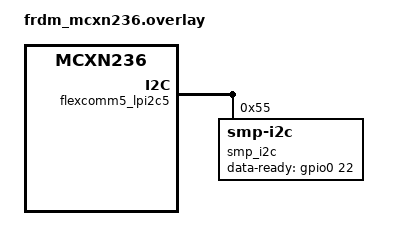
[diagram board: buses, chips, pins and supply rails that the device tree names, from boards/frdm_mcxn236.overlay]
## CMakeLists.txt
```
#
# Copyright (c) 2026 Aerlync Labs Inc.
#
# SPDX-License-Identifier: Apache-2.0
#

cmake_minimum_required(VERSION 3.20.0)
find_package(Zephyr REQUIRED HINTS $ENV{ZEPHYR_BASE})
project(transport_i2c)

target_sources(app PRIVATE src/main.c)
```

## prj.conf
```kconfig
#
# Copyright (c) 2026 Aerlync Labs Inc.
#
# SPDX-License-Identifier: Apache-2.0
#

CONFIG_NET_BUF=y
CONFIG_ZCBOR=y
CONFIG_MCUMGR=y
CONFIG_GPIO=y
CONFIG_I2C=y
CONFIG_I2C_TARGET=y
CONFIG_I2C_TARGET_BUFFER_MODE=y
CONFIG_MCUMGR_TRANSPORT_I2C=y
CONFIG_MCUMGR_MGMT_NOTIFICATION_HOOKS=y
CONFIG_ZTEST=y
CONFIG_SMP_CLIENT=y
CONFIG_NET_BUF_POOL_USAGE=y
CONFIG_MCUMGR_TRANSPORT_NETBUF_AVAILABLE=y
```

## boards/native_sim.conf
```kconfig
CONFIG_I2C_EMUL=y
CONFIG_I2C_TARGET=y
CONFIG_I2C_TARGET_BUFFER_MODE=y
CONFIG_EMUL=y
```

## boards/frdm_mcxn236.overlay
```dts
/*
 * Copyright (c) 2026 Aerlync Labs Inc.
 *
 * SPDX-License-Identifier: Apache-2.0
 */

#include <zephyr/dt-bindings/gpio/gpio.h>

/* FlexComm5 LPI2C5 used as the SMP I2C target. */
&flexcomm5_lpi2c5 {
	status = "okay";

	smp_i2c: smp-i2c@55 {
		compatible = "zephyr,smp-i2c";
		reg = <0x55>;
		data-ready-gpios = <&gpio0 22 GPIO_ACTIVE_HIGH>;
	};
};
```

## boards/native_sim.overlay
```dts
/*
 * Copyright (c) 2026 Aerlync Labs Inc.
 * SPDX-License-Identifier: Apache-2.0
 */

&i2c0 {
	smp_i2c: smp-i2c@55 {
		compatible = "zephyr,smp-i2c";
		reg = <0x55>;
		/* No DRDY GPIO, so the controller polls with 2-byte reads. */
	};
};

/* Enable buffered-mode in the emulator for buffer-mode path coverage */
&i2c0 {
	target-buffered-mode;
};
```

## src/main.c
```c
/*
 * Copyright (c) 2026 Aerlync Labs Inc.
 *
 * SPDX-License-Identifier: Apache-2.0
 */

#include <zephyr/ztest.h>
#include <zephyr/kernel.h>
#include <zephyr/device.h>
#include <zephyr/drivers/i2c.h>
#include <zephyr/net_buf.h>
#include <zephyr/mgmt/mcumgr/smp/smp.h>
#include <zephyr/drivers/gpio.h>
#include <zephyr/mgmt/mcumgr/transport/smp.h>

#define I2C_ADDR 0x55

#if DT_NODE_HAS_PROP(DT_NODELABEL(smp_i2c), data_ready_gpios)
static const struct gpio_dt_spec drdy_gpio =
	GPIO_DT_SPEC_GET(DT_NODELABEL(smp_i2c), data_ready_gpios);
#endif

/*
 * The transport exposes its ISR callbacks and tx path to the tests under
 * CONFIG_ZTEST (see SMP_I2C_STATIC in smp_i2c.c). The tests drive the state
 * machine directly rather than through a live I2C controller or the SMP
 * client registry, which the target does not populate.
 */
extern int smp_i2c_write_requested(struct i2c_target_config *cfg);
extern int smp_i2c_write_received(struct i2c_target_config *cfg, uint8_t val);
extern int smp_i2c_read_requested(struct i2c_target_config *cfg, uint8_t *val);
extern int smp_i2c_read_processed(struct i2c_target_config *cfg, uint8_t *val);
extern int smp_i2c_stop(struct i2c_target_config *cfg);
extern int smp_i2c_tx_pkt(struct net_buf *nb);
extern void smp_i2c_test_reset(void);
#if defined(CONFIG_I2C_TARGET_BUFFER_MODE)
extern void smp_i2c_buf_write_received(struct i2c_target_config *cfg, uint8_t *ptr, uint32_t len);
extern int smp_i2c_buf_read_requested(struct i2c_target_config *cfg, uint8_t **ptr, uint32_t *len);
#endif

static void before_each(void *fixture)
{
	ARG_UNUSED(fixture);
	smp_i2c_test_reset();
}

ZTEST_SUITE(smp_i2c, NULL, NULL, before_each, NULL, NULL);

ZTEST(smp_i2c, test_transport_registers)
{
	const struct device *i2c_dev = DEVICE_DT_GET(DT_BUS(DT_NODELABEL(smp_i2c)));

	zassert_true(device_is_ready(i2c_dev), "I2C device not ready");
}

ZTEST(smp_i2c, test_drdy_starts_deasserted)
{
#if DT_NODE_HAS_PROP(DT_NODELABEL(smp_i2c), data_ready_gpios)
	zassert_true(device_is_ready(drdy_gpio.port), "DRDY GPIO device not ready");
	int val = gpio_pin_get_dt(&drdy_gpio);

	zassert_equal(val, 0, "DRDY should be deasserted initially");
#else
	ztest_test_skip();
#endif
}

ZTEST(smp_i2c, test_zero_length_poll)
{
	uint8_t val = 0xFF;

	smp_i2c_read_requested(NULL, &val);
	zassert_equal(val, 0x00, "Expected 0x00 for zero-length poll");
	smp_i2c_read_processed(NULL, &val);
	zassert_equal(val, 0x00, "Expected 0x00 for next byte");
	smp_i2c_stop(NULL);
}

ZTEST(smp_i2c, test_rx_state_machine_valid_frame)
{
#ifdef CONFIG_MCUMGR_TRANSPORT_NETBUF_AVAILABLE
	size_t before = smp_packet_buffers_available();
#endif
	smp_i2c_write_requested(NULL);
	smp_i2c_write_received(NULL, 0x00);
	smp_i2c_write_received(NULL, 0x05);
	for (int i = 0; i < 5; i++) {
		smp_i2c_write_received(NULL, i);
	}
	smp_i2c_stop(NULL); /* hands a complete frame to the SMP workqueue */

	/*
	 * Let the cooperative workqueue thread process (and free) the
	 * dispatched request, then confirm every net_buf returned to the pool.
	 */
#ifdef CONFIG_MCUMGR_TRANSPORT_NETBUF_AVAILABLE
	k_msleep(100);
	zassert_equal(smp_packet_buffers_available(), before,
		      "valid frame processing leaked a net_buf");
#endif
}

ZTEST(smp_i2c, test_rx_state_machine_truncated_frame)
{
#ifdef CONFIG_MCUMGR_TRANSPORT_NETBUF_AVAILABLE
	size_t before = smp_packet_buffers_available();
#endif
	smp_i2c_write_requested(NULL);
	smp_i2c_write_received(NULL, 0x00);
	smp_i2c_write_received(NULL, 0x0A); /* declares 10 bytes */
	for (int i = 0; i < 5; i++) {
		smp_i2c_write_received(NULL, i); /* only 5 arrive */
	}
	smp_i2c_stop(NULL); /* truncated: must be dropped */
#ifdef CONFIG_MCUMGR_TRANSPORT_NETBUF_AVAILABLE
	zassert_equal(smp_packet_buffers_available(), before,
		      "truncated frame must not leak a net_buf");
#endif
}

ZTEST(smp_i2c, test_rx_state_machine_zero_length_rejected)
{
#ifdef CONFIG_MCUMGR_TRANSPORT_NETBUF_AVAILABLE
	size_t before = smp_packet_buffers_available();
#endif
	smp_i2c_write_requested(NULL);
	smp_i2c_write_received(NULL, 0x00);
	smp_i2c_write_received(NULL, 0x00); /* length 0: rejected before alloc */
	smp_i2c_stop(NULL);
#ifdef CONFIG_MCUMGR_TRANSPORT_NETBUF_AVAILABLE
	zassert_equal(smp_packet_buffers_available(), before,
		      "zero-length frame must not allocate a net_buf");
#endif
}

ZTEST(smp_i2c, test_rx_state_machine_oversize_rejected)
{
#ifdef CONFIG_MCUMGR_TRANSPORT_NETBUF_AVAILABLE
	size_t before = smp_packet_buffers_available();
#endif
	smp_i2c_write_requested(NULL);
	smp_i2c_write_received(NULL, 0xFF); /* length 0xFFFF > MTU */
	smp_i2c_write_received(NULL, 0xFF);
	smp_i2c_stop(NULL);
#ifdef CONFIG_MCUMGR_TRANSPORT_NETBUF_AVAILABLE
	zassert_equal(smp_packet_buffers_available(), before,
		      "oversize frame must not leak a net_buf");
#endif
}

ZTEST(smp_i2c, test_tx_path_stages_response)
{
	struct net_buf *nb = smp_packet_alloc();

	zassert_not_null(nb, "net_buf alloc failed");

	uint8_t payload[] = {0xAA, 0xBB, 0xCC};

	net_buf_add_mem(nb, payload, sizeof(payload));

	int rc = smp_i2c_tx_pkt(nb);

	zassert_equal(rc, 0, "tx_pkt failed");

#if DT_NODE_HAS_PROP(DT_NODELABEL(smp_i2c), data_ready_gpios)
	int val = gpio_pin_get_dt(&drdy_gpio);

	zassert_equal(val, 1, "DRDY should be asserted after tx_pkt");
#endif

	uint8_t val0 = 0, val1 = 0;

	smp_i2c_read_requested(NULL, &val0);
	smp_i2c_read_processed(NULL, &val1);
	zassert_equal(val0, 0x00, "Length high should be 0");
	zassert_equal(val1, 0x03, "Length low should be 3");

	uint8_t data[3] = {0};

	smp_i2c_read_processed(NULL, &data[0]);
	smp_i2c_read_processed(NULL, &data[1]);
	smp_i2c_read_processed(NULL, &data[2]);

	zassert_mem_equal(data, payload, 3, "Payload mismatch");

	smp_i2c_stop(NULL);
}

/*
 * A READ that begins while no response is staged must serve 0x00 for its
 * entire life, even if the workqueue stages a response (here a 256-byte one,
 * so a torn length high byte would surface as non-zero) before the next ISR
 * byte is served.
 */
ZTEST(smp_i2c, test_tx_not_ready_read_stays_zero)
{
	uint8_t v = 0xFF;

	smp_i2c_read_requested(NULL, &v);
	zassert_equal(v, 0x00, "byte0 must be 0x00 when no response is staged");

	struct net_buf *nb = smp_packet_alloc();

	zassert_not_null(nb, "alloc failed");
	for (int i = 0; i < 256; i++) {
		net_buf_add_u8(nb, (uint8_t)i); /* len 256 -> len_hi = 0x01 */
	}
	zassert_equal(smp_i2c_tx_pkt(nb), 0, "staging 256-byte response failed");

	v = 0xFF;
	smp_i2c_read_processed(NULL, &v);
	zassert_equal(v, 0x00, "byte1 must stay 0x00 (no torn length header)");
	v = 0xFF;
	smp_i2c_read_processed(NULL, &v);
	zassert_equal(v, 0x00, "later bytes of a not-ready read stay 0x00");

	smp_i2c_stop(NULL);
}

/*
 * A response staged while a different READ is in flight (tx_reading set, no
 * stop() yet) must be rejected with -EBUSY rather than corrupting the buffer
 * that read is draining.
 */
ZTEST(smp_i2c, test_tx_pkt_rejected_while_read_in_flight)
{
	struct net_buf *nb1 = smp_packet_alloc();
	uint8_t payload1[] = {0x11, 0x22, 0x33};

	net_buf_add_mem(nb1, payload1, sizeof(payload1));
	zassert_equal(smp_i2c_tx_pkt(nb1), 0, "first tx_pkt failed");

	uint8_t val = 0;

	smp_i2c_read_requested(NULL, &val); /* READ now in flight (tx_reading) */
	zassert_equal(val, 0x00, "length high mismatch");

	struct net_buf *nb2 = smp_packet_alloc();
	uint8_t payload2[] = {0x44, 0x55};

	net_buf_add_mem(nb2, payload2, sizeof(payload2));
	zassert_equal(smp_i2c_tx_pkt(nb2), -EBUSY, "expected -EBUSY while a read is in flight");

	smp_i2c_read_processed(NULL, &val);
	zassert_equal(val, 0x03, "length low mismatch after rejected overwrite");

	uint8_t data[3] = {0};

	smp_i2c_read_processed(NULL, &data[0]);
	smp_i2c_read_processed(NULL, &data[1]);
	smp_i2c_read_processed(NULL, &data[2]);
	zassert_mem_equal(data, payload1, 3, "in-flight payload was corrupted");

	smp_i2c_stop(NULL);
}

ZTEST(smp_i2c, test_echo_round_trip)
{
#ifdef CONFIG_I2C_EMUL
	const struct device *i2c_dev = DEVICE_DT_GET(DT_BUS(DT_NODELABEL(smp_i2c)));

	uint8_t write_buf[] = {0x00, 0x02, 0x11, 0x22};
	int rc = i2c_write(i2c_dev, write_buf, sizeof(write_buf), I2C_ADDR);

	zassert_equal(rc, 0, "i2c_write failed");
#else
	ztest_test_skip();
#endif
}

ZTEST(smp_i2c, test_mtu_boundary_exact_mtu)
{
	struct net_buf *nb = smp_packet_alloc();
	uint16_t mtu = CONFIG_MCUMGR_TRANSPORT_I2C_MTU;

	for (int i = 0; i < mtu; i++) {
		net_buf_add_u8(nb, i & 0xFF);
	}
	int rc = smp_i2c_tx_pkt(nb);

	zassert_equal(rc, 0, "MTU exact size should be accepted");
	smp_i2c_stop(NULL);
}

ZTEST(smp_i2c, test_mtu_boundary_oversize)
{
	struct net_buf *nb = smp_packet_alloc();
	uint16_t mtu = CONFIG_MCUMGR_TRANSPORT_I2C_MTU;

	for (int i = 0; i < mtu + 1; i++) {
		net_buf_add_u8(nb, i & 0xFF);
	}
	int rc = smp_i2c_tx_pkt(nb);

	zassert_equal(rc, -EMSGSIZE, "MTU+1 should be rejected");
}

#if defined(CONFIG_I2C_TARGET_BUFFER_MODE)
/*
 * In buffer mode the controller reads twice (the length, then the full
 * frame). The staged response must survive the first read and only be
 * dropped when the next request arrives.
 */
ZTEST(smp_i2c, test_buffer_mode_latched_until_next_request)
{
	struct net_buf *nb = smp_packet_alloc();
	uint8_t payload[] = {0xDE, 0xAD, 0xBE, 0xEF};

	net_buf_add_mem(nb, payload, sizeof(payload));
	zassert_equal(smp_i2c_tx_pkt(nb), 0, "staging response failed");

	uint8_t *p1 = NULL;
	uint32_t l1 = 0;

	smp_i2c_buf_read_requested(NULL, &p1, &l1);
	zassert_equal(l1, 2 + sizeof(payload), "first read frame length");
	zassert_equal(p1[0], 0x00, "length high");
	zassert_equal(p1[1], sizeof(payload), "length low");
	zassert_mem_equal(&p1[2], payload, sizeof(payload), "first read payload");

	/* Second read must return the same frame, not zeros. */
	uint8_t *p2 = NULL;
	uint32_t l2 = 0;

	smp_i2c_buf_read_requested(NULL, &p2, &l2);
	zassert_equal(l2, 2 + sizeof(payload), "second read must repeat the frame");
	zassert_mem_equal(&p2[2], payload, sizeof(payload),
			  "second read must return the same payload");

	/* The next request discards the staged response. */
	uint8_t req[] = {0x00, 0x01, 0x42};

	smp_i2c_buf_write_received(NULL, req, sizeof(req));

	uint8_t *p3 = NULL;
	uint32_t l3 = 0;

	smp_i2c_buf_read_requested(NULL, &p3, &l3);
	zassert_equal(l3, 2, "after the next request a read returns the idle prefix");
	zassert_equal(p3[0], 0x00, "idle length high");
	zassert_equal(p3[1], 0x00, "idle length low");
}
#endif /* CONFIG_I2C_TARGET_BUFFER_MODE */

/* Provide a dummy device to satisfy i2c_emul.c, which expects all children
 * to be devices. A single zephyr,smp-i2c node is supported (see the
 * BUILD_ASSERT in smp_i2c.c).
 */
#define DT_DRV_COMPAT zephyr_smp_i2c
#if DT_NODE_HAS_COMPAT(DT_DRV_INST(0), zephyr_smp_i2c)
DEVICE_DT_DEFINE(DT_DRV_INST(0), NULL, NULL, NULL, NULL, POST_KERNEL, 99, NULL);
#endif
```
